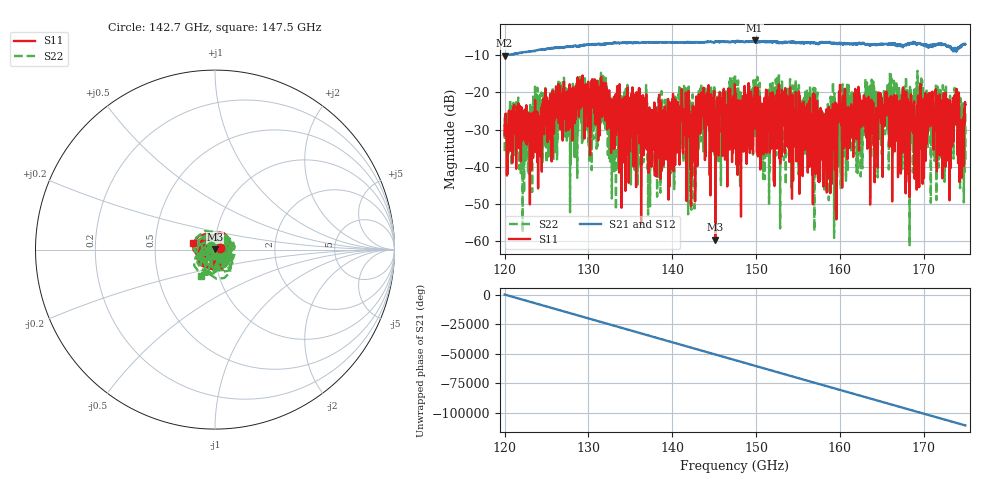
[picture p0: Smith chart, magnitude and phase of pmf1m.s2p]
#  HZ  S  DB  R  50.00
! Rohde & Schwarz ZVA24 4Ports - Version 4.11 - 1145.1110k26 SN: 100599
! Date: 2025-09-02 10:05:00
! Measurements: S11 S21 S12 S22
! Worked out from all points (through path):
!   4500 points, 120 GHz to 175 GHz, reference 50 ohm
!   highest |S21| = -6.13 dB at 149.8 GHz (marker M1); lowest = -10.2 dB at 120 GHz (marker M2)
!   lowest |S11| = -59.6 dB at 145.1 GHz (marker M3), VSWR 1.00, Z = 50 + j0.104 ohm
!   |S11| at or under -10 dB: start of sweep to end of sweep
!   |S22| runs from -61.3 to -14.3 dB; largest |S21 - S12| = 0.3
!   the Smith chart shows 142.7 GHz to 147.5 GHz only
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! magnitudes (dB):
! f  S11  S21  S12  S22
! 120 GHz  -31.6  -10.2  -10.2  -26.7
! 122.4 GHz  -24.7  -9.3  -9.3  -28.2
! 123.7 GHz  -28.3  -8.9  -8.9  -24.8
! 129.2 GHz  -21.2  -7.5  -7.5  -20.2
! 138.3 GHz  -26.7  -6.7  -6.8  -24.8
! 140 GHz  -24.4  -6.7  -6.7  -32.3
! 140.8 GHz  -27.5  -6.7  -6.7  -20.9
! 142.8 GHz  -29.0  -6.6  -6.6  -29.0
! 144.1 GHz  -21.2  -6.5  -6.6  -21.6
! 145.1 GHz  -59.6  -6.4  -6.5  -31.4
! 147.5 GHz  -19.4  -6.7  -6.7  -15.7
! 149.8 GHz  -24.5  -6.1  -6.2  -31.0
! 150.9 GHz  -31.0  -6.3  -6.3  -26.1
! 156.7 GHz  -29.9  -6.7  -6.7  -22.9
! 158.4 GHz  -33.1  -6.6  -6.6  -33.7
! 165.8 GHz  -23.2  -7.1  -7.2  -25.5
! 168.5 GHz  -20.8  -6.9  -6.9  -25.0
! 169.5 GHz  -45.5  -6.9  -6.9  -22.1
! 171.1 GHz  -19.9  -7.4  -7.5  -28.8
! 173.8 GHz  -23.2  -8.1  -8.1  -27.3
! 174.5 GHz  -42.9  -7.7  -7.8  -27.1
! 175 GHz  -23.4  -7.1  -7.2  -25.6
